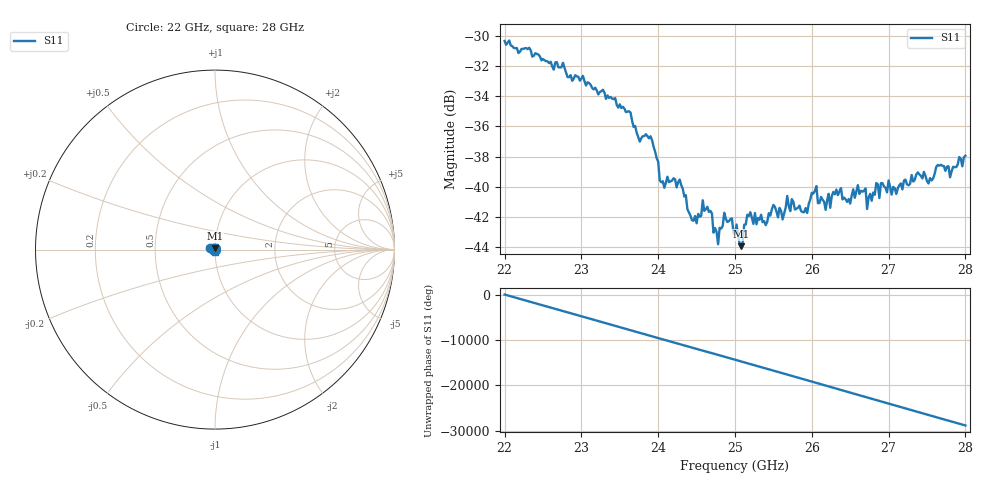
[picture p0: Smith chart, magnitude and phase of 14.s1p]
#  HZ  S  RI  R  50.00
! Rohde & Schwarz ZVA40 4Ports - Version 3.90 - 1145.1110k42 SN: 100403
! Date: 2023-10-04 08:33:54
! Measurement: S12
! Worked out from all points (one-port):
!   301 points, 22 GHz to 28 GHz, reference 50 ohm
!   lowest |S11| = -44.0 dB at 25.08 GHz (marker M1), VSWR 1.01, Z = 50 + j0.633 ohm
!   |S11| at or under -10 dB: start of sweep to end of sweep
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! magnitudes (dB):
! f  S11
! 22 GHz  -30.3
! 22.76 GHz  -31.8
! 23.5 GHz  -34.5
! 23.76 GHz  -37.0
! 23.9 GHz  -36.7
! 24.08 GHz  -40.1
! 24.26 GHz  -39.7
! 24.44 GHz  -42.2
! 24.58 GHz  -40.9
! 24.78 GHz  -43.8
! 24.86 GHz  -41.7
! 25 GHz  -43.2
! 25.08 GHz  -44.0
! 25.16 GHz  -41.9
! 25.4 GHz  -42.6
! 25.76 GHz  -41.0
! 25.94 GHz  -41.7
! 26.06 GHz  -40.0
! 26.18 GHz  -41.5
! 26.38 GHz  -40.1
! 26.5 GHz  -41.1
! 26.6 GHz  -39.9
! 26.7 GHz  -40.1
! 26.72 GHz  -41.5
! 26.84 GHz  -39.8
! 26.88 GHz  -40.8
! 27.26 GHz  -39.9
! 28 GHz  -37.9
